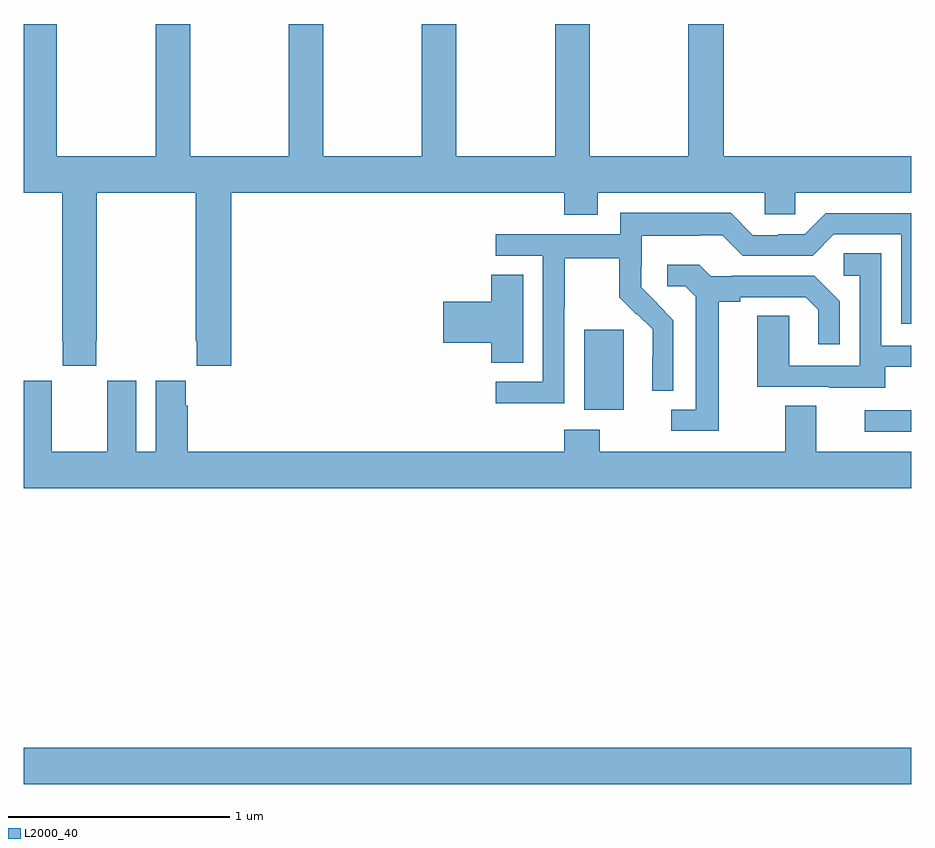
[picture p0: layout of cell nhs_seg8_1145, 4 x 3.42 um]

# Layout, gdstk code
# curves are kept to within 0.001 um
import gdstk
lib = gdstk.Library(unit=1e-6, precision=1e-09)
def R(c, l, rs):  # rectangles x0, y0, x1, y1
    for r in rs: c.add(gdstk.rectangle(r[:2], r[2:], *l))
def P(c, l, *ps):  # polygons
    for p in ps: c.add(gdstk.Polygon(p, *l))
L2000_40 = (2000, 40)

nhs_seg8_1145 = lib.new_cell('nhs_seg8_1145')
R(nhs_seg8_1145, L2000_40, [(183,1140.476,187,1140.64), (186.789,1142.064,187,1142.16), (185.525,1142.162,185.704,1142.523)])
P(nhs_seg8_1145, L2000_40, [(183.327,1142.473),(183.33,1142.473),(183.33,1143.14),(183.775,1143.14),(183.775,1142.473),(183.781,1142.473),(183.781,1142.361),(183.935,1142.361),(183.935,1143.14),(185.435,1143.14),(185.435,1143.041),(185.587,1143.041),(185.587,1143.14),(186.339,1143.14),(186.339,1143.042),(186.477,1143.042),(186.477,1143.14),(187,1143.14),(187,1143.304),(186.155,1143.304),(186.155,1143.9),(185.995,1143.9),(185.995,1143.304),(185.55,1143.304),(185.55,1143.9),(185.395,1143.9),(185.395,1143.304),(184.95,1143.304),(184.95,1143.9),(184.795,1143.9),(184.795,1143.304),(184.35,1143.304),(184.35,1143.9),(184.195,1143.9),(184.195,1143.304),(183.75,1143.304),(183.75,1143.9),(183.595,1143.9),(183.595,1143.304),(183.15,1143.304),(183.15,1143.9),(183,1143.9),(183,1143.14),(183.175,1143.14),(183.175,1142.473),(183.177,1142.473),(183.177,1142.361),(183.327,1142.361)],
  [(185.436,1142.62),(185.439,1142.62),(185.439,1142.844),(185.683,1142.844),(185.683,1142.669),(185.76,1142.592),(185.763,1142.595),(185.834,1142.525),(185.834,1142.402),(185.832,1142.402),(185.832,1142.248),(185.928,1142.248),(185.928,1142.566),(185.782,1142.714),(185.782,1142.811),(185.784,1142.811),(185.784,1142.945),(186.047,1142.945),(186.047,1142.949),(186.147,1142.949),(186.24,1142.856),(186.555,1142.856),(186.651,1142.952),(186.954,1142.952),(186.954,1142.55),(187,1142.55),(187,1143.048),(186.615,1143.048),(186.519,1142.952),(186.401,1142.952),(186.401,1142.949),(186.285,1142.949),(186.185,1143.049),(185.688,1143.049),(185.688,1142.952),(185.127,1142.952),(185.127,1142.856),(185.34,1142.856),(185.34,1142.289),(185.127,1142.289),(185.127,1142.191),(185.436,1142.191)],
  [(186.883,1142.355),(187,1142.355),(187,1142.451),(186.864,1142.451),(186.864,1142.867),(186.696,1142.867),(186.696,1142.766),(186.768,1142.766),(186.768,1142.361),(186.45,1142.361),(186.45,1142.585),(186.305,1142.585),(186.305,1142.265),(186.629,1142.265),(186.629,1142.261),(186.883,1142.261)],
  [(186.133,1142.648),(186.229,1142.648),(186.229,1142.67),(186.524,1142.67),(186.581,1142.613),(186.581,1142.457),(186.678,1142.457),(186.678,1142.65),(186.562,1142.766),(186.19,1142.766),(186.19,1142.763),(186.096,1142.763),(186.044,1142.815),(185.901,1142.815),(185.901,1142.718),(185.982,1142.718),(186.029,1142.671),(186.029,1142.163),(185.919,1142.163),(185.919,1142.067),(186.133,1142.067)],
  [(185.251,1142.771),(185.108,1142.771),(185.108,1142.648),(184.89,1142.648),(184.89,1142.465),(185.108,1142.465),(185.108,1142.374),(185.251,1142.374)],
  [(187,1141.972),(186.571,1141.972),(186.571,1142.18),(186.431,1142.18),(186.431,1141.972),(185.595,1141.972),(185.595,1142.071),(185.435,1142.071),(185.435,1141.972),(183.74,1141.972),(183.74,1142.18),(183.73,1142.18),(183.73,1142.293),(183.596,1142.293),(183.596,1141.972),(183.508,1141.972),(183.508,1142.293),(183.378,1142.293),(183.378,1142.18),(183.377,1142.18),(183.377,1141.972),(183.127,1141.972),(183.127,1142.18),(183.126,1142.18),(183.126,1142.293),(183,1142.293),(183,1141.808),(187,1141.808)])

lib.write_gds('nhs_seg8_1145.gds')
